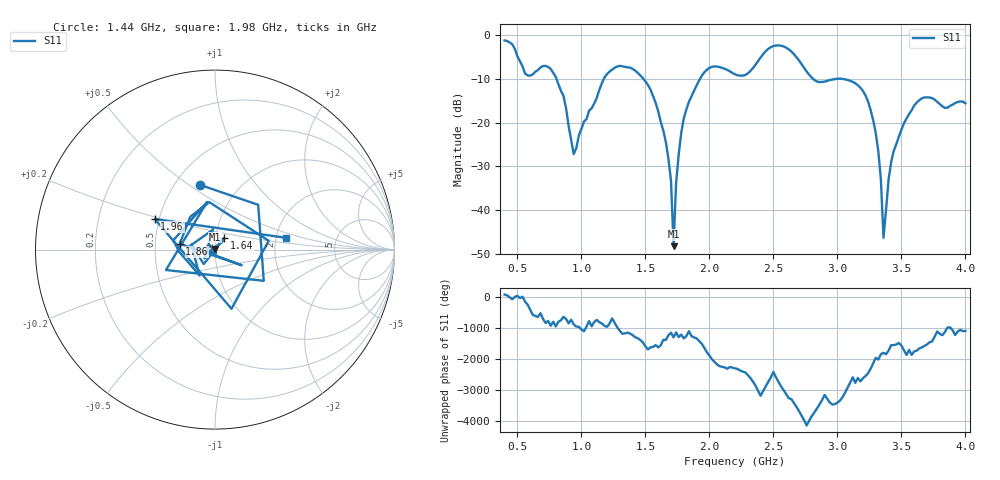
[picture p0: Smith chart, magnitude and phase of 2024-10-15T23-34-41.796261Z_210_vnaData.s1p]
! Created with skrf (http://scikit-rf.org).
# Hz S RI R 50.0
!freq ReS11 ImS11
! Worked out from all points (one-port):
!   181 points, 400 MHz to 4 GHz, reference 50 ohm
!   lowest |S11| = -48.3 dB at 1.72 GHz (marker M1), VSWR 1.01, Z = 49.8 + j0.297 ohm
!   |S11| at or under -10 dB: 805.4 MHz to 1.175 GHz (369.9 MHz wide, 37.4 % of centre); 1.485 GHz to 1.927 GHz (442.2 MHz wide, 25.9 % of centre); 3.036 GHz to end of sweep (the widest 3 of 4)
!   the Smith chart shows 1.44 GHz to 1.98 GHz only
!   S11 on the Smith chart (normalised r, x): 1.44 GHz: 0.66, +0.55; 1.64 GHz: 1.10, +0.14; 1.86 GHz: 0.67, +0.05; 1.96 GHz: 0.47, +0.19; 1.98 GHz: 2.27, +0.36
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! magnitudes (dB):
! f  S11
! 400 MHz  -1.2
! 580 MHz  -9.2
! 760 MHz  -7.7
! 860 MHz  -13.9
! 940 MHz  -27.2
! 1.18 GHz  -9.7
! 1.3 GHz  -7.0
! 1.44 GHz  -8.6
! 1.64 GHz  -21.8
! 1.7 GHz  -33.3
! 1.72 GHz  -48.3
! 1.74 GHz  -33.8
! 1.76 GHz  -27.3
! 1.86 GHz  -14.0
! 1.96 GHz  -8.5
! 1.98 GHz  -7.9
! 2.2 GHz  -9.0
! 2.5 GHz  -2.5
! 2.66 GHz  -4.3
! 2.84 GHz  -10.6
! 3.1 GHz  -10.4
! 3.28 GHz  -19.5
! 3.34 GHz  -33.1
! 3.36 GHz  -46.4
! 3.42 GHz  -29.0
! 3.56 GHz  -18.1
! 3.68 GHz  -14.2
! 4 GHz  -15.6
